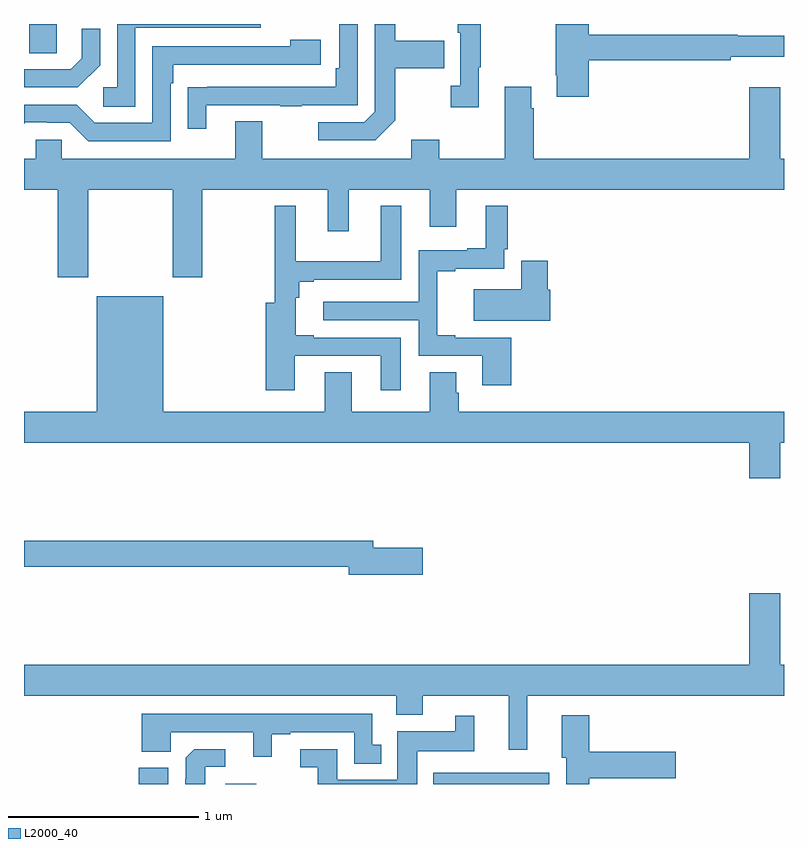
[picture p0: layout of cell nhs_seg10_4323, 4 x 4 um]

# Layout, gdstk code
import gdstk
lib = gdstk.Library(unit=1e-6, precision=1e-09)
def R(c, l, rs):  # rectangles x0, y0, x1, y1
    for r in rs: c.add(gdstk.rectangle(r[:2], r[2:], *l))
def P(c, l, *ps):  # polygons
    for p in ps: c.add(gdstk.Polygon(p, *l))
L2000_40 = (2000, 40)

nhs_seg10_4323 = lib.new_cell('nhs_seg10_4323')
R(nhs_seg10_4323, L2000_40, [(353.603,1318.5,353.758,1318.585), (354.059,1318.5,354.223,1318.501), (355.154,1318.5,355.765,1318.558), (353.027,1322.347,353.172,1322.5)])
P(nhs_seg10_4323, L2000_40, [(355.393,1322.273),(355.405,1322.273),(355.405,1322.5),(355.284,1322.5),(355.284,1322.453),(355.296,1322.453),(355.296,1322.174),(355.245,1322.174),(355.245,1322.061),(355.393,1322.061)],
  [(353.959,1322.073),(354.349,1322.073),(354.349,1322.068),(354.461,1322.068),(354.461,1322.073),(354.756,1322.073),(354.756,1322.5),(354.66,1322.5),(354.66,1322.266),(354.64,1322.266),(354.64,1322.169),(353.965,1322.169),(353.965,1322.168),(353.863,1322.168),(353.863,1321.95),(353.959,1321.95)],
  [(355.973,1322.308),(356.72,1322.308),(356.72,1322.327),(357,1322.327),(357,1322.437),(356.756,1322.437),(356.756,1322.444),(355.973,1322.444),(355.973,1322.5),(355.798,1322.5),(355.798,1322.23),(355.805,1322.23),(355.805,1322.118),(355.973,1322.118)],
  [(353.586,1322.481),(354.245,1322.481),(354.245,1322.5),(353.49,1322.5),(353.49,1322.166),(353.418,1322.166),(353.418,1322.065),(353.586,1322.065)],
  [(354.955,1321.993),(354.955,1322.266),(355.211,1322.266),(355.211,1322.413),(354.955,1322.413),(354.955,1322.5),(354.846,1322.5),(354.846,1322.037),(354.792,1321.983),(354.549,1321.983),(354.549,1321.887),(354.849,1321.887)],
  [(353.4,1322.282),(353.4,1322.476),(353.303,1322.476),(353.303,1322.319),(353.246,1322.262),(353,1322.262),(353,1322.166),(353.284,1322.166)],
  [(353.772,1322.189),(353.785,1322.189),(353.785,1322.286),(354.562,1322.286),(354.562,1322.416),(354.401,1322.416),(354.401,1322.382),(353.676,1322.382),(353.676,1321.98),(353.373,1321.98),(353.277,1322.076),(353,1322.076),(353,1321.976),(353.007,1321.983),(353.123,1321.983),(353.123,1321.98),(353.241,1321.98),(353.337,1321.884),(353.772,1321.884)],
  [(354.599,1321.41),(354.709,1321.41),(354.709,1321.628),(355.136,1321.628),(355.136,1321.434),(355.276,1321.434),(355.276,1321.628),(357,1321.628),(357,1321.792),(356.98,1321.792),(356.98,1322.167),(356.816,1322.167),(356.816,1321.792),(355.682,1321.792),(355.682,1322.057),(355.669,1322.057),(355.669,1322.17),(355.529,1322.17),(355.529,1321.792),(355.185,1321.792),(355.185,1321.891),(355.037,1321.891),(355.037,1321.792),(354.253,1321.792),(354.253,1321.987),(354.113,1321.987),(354.113,1321.792),(353.199,1321.792),(353.199,1321.89),(353.061,1321.89),(353.061,1321.792),(353,1321.792),(353,1321.628),(353.177,1321.628),(353.177,1321.167),(353.337,1321.167),(353.337,1321.628),(353.782,1321.628),(353.782,1321.167),(353.937,1321.167),(353.937,1321.628),(354.599,1321.628)],
  [(354.424,1320.753),(354.878,1320.753),(354.878,1320.573),(354.982,1320.573),(354.982,1320.849),(354.526,1320.849),(354.526,1320.862),(354.43,1320.862),(354.43,1321.058),(354.448,1321.058),(354.448,1321.143),(354.526,1321.143),(354.526,1321.155),(354.985,1321.155),(354.985,1321.543),(354.878,1321.543),(354.878,1321.252),(354.43,1321.252),(354.43,1321.543),(354.319,1321.543),(354.319,1321.033),(354.272,1321.033),(354.272,1320.573),(354.424,1320.573)],
  [(355.565,1320.849),(355.27,1320.849),(355.27,1320.862),(355.175,1320.862),(355.175,1321.2),(355.27,1321.2),(355.27,1321.212),(355.527,1321.212),(355.527,1321.315),(355.547,1321.315),(355.547,1321.543),(355.43,1321.543),(355.43,1321.321),(355.334,1321.321),(355.334,1321.308),(355.077,1321.308),(355.077,1321.038),(354.576,1321.038),(354.576,1320.942),(355.077,1320.942),(355.077,1320.753),(355.412,1320.753),(355.412,1320.6),(355.565,1320.6)],
  [(355.769,1321.101),(355.757,1321.101),(355.757,1321.255),(355.616,1321.255),(355.616,1321.105),(355.368,1321.105),(355.368,1320.938),(355.769,1320.938)],
  [(356.98,1320.296),(357,1320.296),(357,1320.46),(355.289,1320.46),(355.289,1320.558),(355.276,1320.558),(355.276,1320.668),(355.136,1320.668),(355.136,1320.46),(354.724,1320.46),(354.724,1320.668),(354.584,1320.668),(354.584,1320.46),(353.734,1320.46),(353.734,1321.066),(353.384,1321.066),(353.384,1320.46),(353,1320.46),(353,1320.296),(356.816,1320.296),(356.816,1320.108),(356.98,1320.108)],
  [(355.099,1319.744),(354.838,1319.744),(354.838,1319.78),(353,1319.78),(353,1319.644),(354.71,1319.644),(354.71,1319.602),(355.099,1319.602)],
  [(355.649,1318.964),(357,1318.964),(357,1319.128),(356.98,1319.128),(356.98,1319.503),(356.816,1319.503),(356.816,1319.128),(353,1319.128),(353,1318.964),(354.959,1318.964),(354.959,1318.865),(355.099,1318.865),(355.099,1318.964),(355.55,1318.964),(355.55,1318.68),(355.649,1318.68)],
  [(354.88,1318.707),(354.834,1318.707),(354.834,1318.869),(353.621,1318.869),(353.621,1318.67),(353.772,1318.67),(353.772,1318.773),(354.206,1318.773),(354.206,1318.644),(354.304,1318.644),(354.304,1318.761),(354.4,1318.761),(354.4,1318.773),(354.738,1318.773),(354.738,1318.607),(354.88,1318.607)],
  [(355.976,1318.529),(356.431,1318.529),(356.431,1318.671),(355.976,1318.671),(355.976,1318.861),(355.829,1318.861),(355.829,1318.638),(355.853,1318.638),(355.853,1318.5),(355.976,1318.5)],
  [(355.069,1318.673),(355.37,1318.673),(355.37,1318.858),(355.271,1318.858),(355.271,1318.777),(354.965,1318.777),(354.965,1318.522),(354.649,1318.522),(354.649,1318.683),(354.453,1318.683),(354.453,1318.587),(354.545,1318.587),(354.545,1318.5),(355.069,1318.5)],
  [(353.953,1318.59),(354.058,1318.59),(354.058,1318.683),(353.896,1318.683),(353.85,1318.637),(353.85,1318.526),(353.849,1318.526),(353.849,1318.5),(353.953,1318.5)])

lib.write_gds('nhs_seg10_4323.gds')
